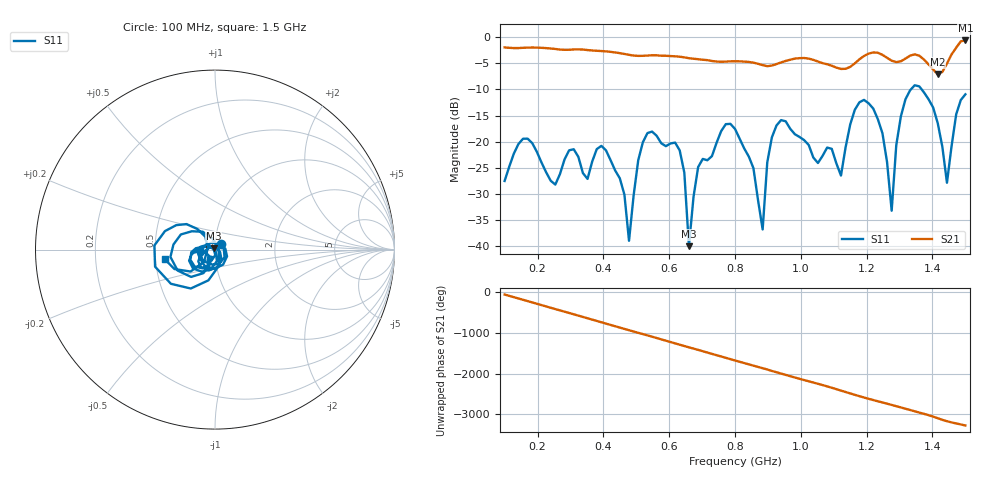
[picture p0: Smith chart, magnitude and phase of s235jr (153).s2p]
! NanoVNA-App
! Date: 2025-09-25 15:05:21
! Start: 100MHz Stop: 1,5GHz Points: 101
! S-Parameter data: F S11 S21 S12 S22
# Hz S RI R 50
!  Frequency  S11_Real  S11_Imag  S21_Real  S21_Imag  S12_Real  S12_Imag  S22_Real  S22_Imag
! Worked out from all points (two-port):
!   101 points, 100 MHz to 1.5 GHz, reference 50 ohm
!   highest |S21| = -0.63 dB at 1.5 GHz (marker M1); lowest = -7.1 dB at 1.416 GHz (marker M2)
!   |S21| within 3 dB of the highest: start of sweep to 609.3 MHz; 1.191 GHz to 1.254 GHz (62.83 MHz wide, 5.14 % of centre) (the widest 2 of 4)
!   lowest |S11| = -39.9 dB at 660 MHz (marker M3), VSWR 1.02, Z = 49.2 + j0.605 ohm
!   |S11| at or under -10 dB: start of sweep to 1.334 GHz; 1.367 GHz to end of sweep
!   S12 and S22 are empty: the file has one direction only
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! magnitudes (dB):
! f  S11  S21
! 100 MHz  -27.5  -2.0
! 156 MHz  -19.4  -2.0
! 338 MHz  -26.0  -2.4
! 408 MHz  -21.6  -2.7
! 478 MHz  -38.9  -3.4
! 520 MHz  -20.1  -3.6
! 576 MHz  -20.3  -3.5
! 632 MHz  -21.6  -3.7
! 660 MHz  -39.9  -4.0
! 688 MHz  -24.8  -4.2
! 800 MHz  -17.5  -4.6
! 884 MHz  -36.7  -5.4
! 926 MHz  -16.9  -5.1
! 1.038 GHz  -23.0  -4.3
! 1.122 GHz  -26.4  -6.1
! 1.192 GHz  -12.0  -3.6
! 1.248 GHz  -18.4  -3.4
! 1.276 GHz  -33.2  -4.5
! 1.332 GHz  -10.2  -3.5
! 1.416 GHz  -16.4  -7.1
! 1.444 GHz  -27.8  -5.1
! 1.5 GHz  -10.9  -0.6
